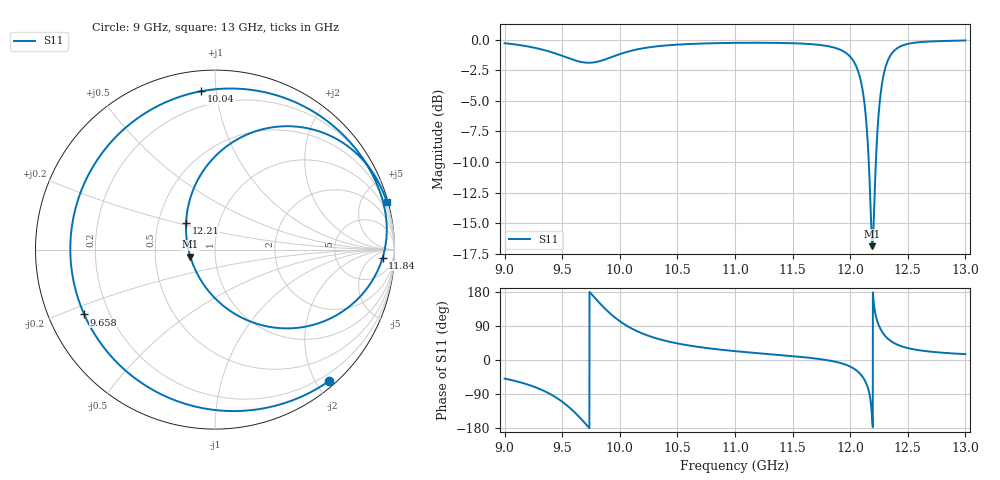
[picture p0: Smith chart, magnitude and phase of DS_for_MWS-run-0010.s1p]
! TOUCHSTONE file generated by CST DESIGN STUDIO
! Date and time: Tue Feb  4 14:19:31 2025
! Project name: C:\Work\MatlabApps\UnitCellOptimizationMatlab\CST\unitcell.cst
! Tree item: Tasks\Sweep1\SPara1\S-Parameters
! Header version: 2024
! Port assignment regex: !\s*Touchstone port\s*([0-9]+)\s*=\s*(CST MWS port|CST DES external port|CST DES block port)\s*(.+)\s* \(\"(.*)\"\)(\s*mode\s*([0-9]+))?.*
! Touchstone port assignment:
! Touchstone port 1 = CST DES external port 1 ("")
# GHz S MA R 50
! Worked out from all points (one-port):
!   4001 points, 9 GHz to 13 GHz, reference 50 ohm
!   lowest |S11| = -16.9 dB at 12.19 GHz (marker M1), VSWR 1.33, Z = 37.8 - j3.03 ohm
!   |S11| at or under -10 dB: 12.16 GHz to 12.22 GHz (61.27 MHz wide, 0.503 % of centre)
!   S11 on the Smith chart (normalised r, x): 9 GHz: 0.09, -2.19; 9.658 GHz: 0.11, -0.23; 10.04 GHz: 0.11, +0.91; 11.84 GHz: 20, -14; 12.21 GHz: 0.69, +0.22; 13 GHz: 0.14, +7.38
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9  0.9695 -49.0
9.266  0.9273 -71.7
9.398  0.8935 -90.2
9.5  0.8608 -110.1
9.579  0.8344 -129.8
9.658  0.8135 -153.6
9.73  0.8062 -177.8
9.801  0.8133 158.0
9.901  0.8414 127.0
10  0.8747 102.4
10.036  0.8857 95.0
10.244  0.9311 64.4
10.5  0.9565 43.7
11  0.9726 23.4
11.5  0.9693 10.2
11.841  0.9352 -2.7
12  0.8536 -17.4
12.069  0.7443 -31.3
12.125  0.544 -53.0
12.159  0.3334 -78.9
12.18  0.1869 -115.2
12.193  0.143 -164.1
12.21  0.219 137.4
12.247  0.4969 92.4
12.296  0.7398 66.3
12.38  0.9016 44.8
12.5  0.963 31.4
13  0.9949 15.4
